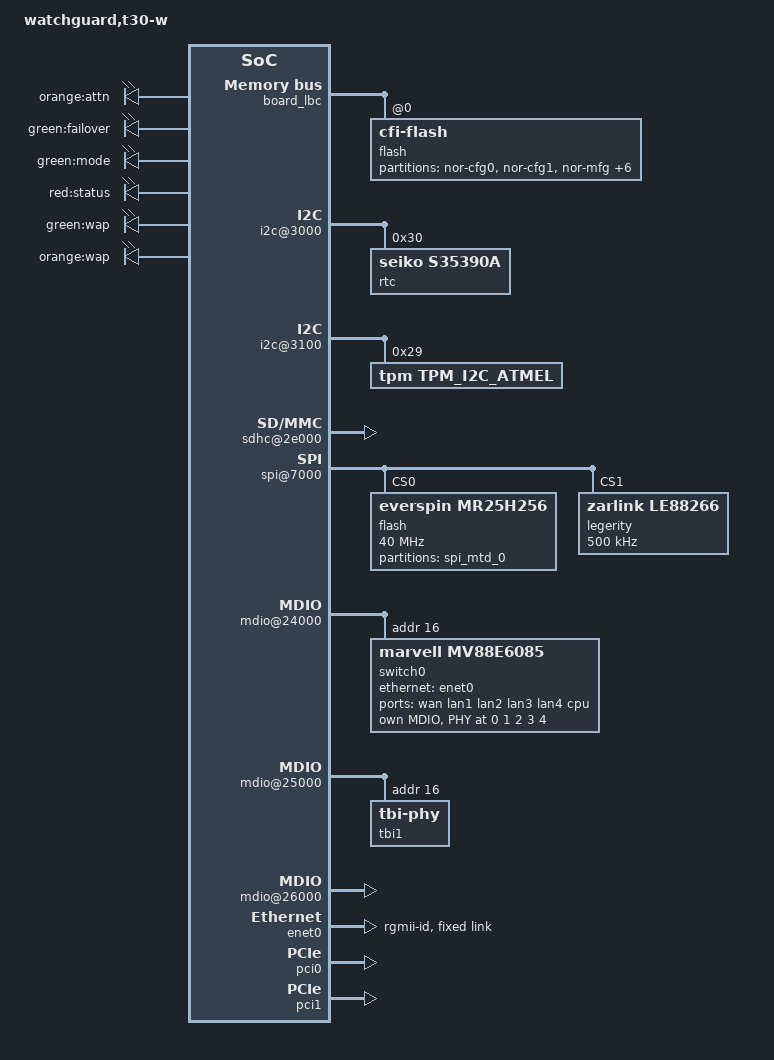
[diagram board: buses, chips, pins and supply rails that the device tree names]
// SPDX-License-Identifier: GPL-2.0-or-later OR MIT

//#include <dt-bindings/gpio/gpio.h>
//#include <dt-bindings/input/input.h>

/include/ "p1020si-pre.dtsi"
/ {
	model = "watchguard,t30-w", "fsl,P1020RDB";
	compatible = "watchguard,t30-w";

	aliases {
		serial0 = &serial0;
		serial1 = &serial1;
		ethernet0 = &enet0;
		pci0 = &pci0;
		pci1 = &pci1;
		led-boot = "/leds/attn_orange";
		led-failsafe = "/leds/status_red";
		led-running = "/leds/attn_orange";
		led-upgrade = "/leds/status_red";
	};

	memory {
		device_type = "memory";
	};

	board_lbc: lbc: localbus@ffe05000 {
		reg = <0x0 0xffe05000 0x0 0x1000>;
		compatible = "fsl,p1020-elbc","fsl,elbc","simple-bus";
		interrupts = <0x13 0x02>;
		interrupt-parent = <&mpic>;

		/* NOR Flash */
		ranges = <0x0 0x0 0x0 0xefc00000 0x100000>;
		
		flash@0 {
			#address-cells = <0x01>;
			#size-cells = <0x01>;
			compatible = "cfi-flash";
			reg = <0x00 0x00 0x400000>;
			bank-width = <0x02>;
			device-width = <0x01>;
			
			partitions {
				compatible = "fixed-partitions";
				#address-cells = <1>;
				#size-cells = <1>;
				
				partition@0 {
					reg = <0x00 0x20000>;
					label = "nor-cfg0";
				};

				partition@20000 {
					reg = <0x20000 0x10000>;
					label = "nor-cfg1";
				};

				partition@30000 {
					reg = <0x30000 0x20000>;
					label = "nor-mfg";
				};

				partition@50000 {
					reg = <0x50000 0xc0000>;
					label = "nor-bootopt";
				};

				partition@110000 {
					reg = <0x110000 0xc0000>;
					label = "nor-extra1";
				};

				partition@1D0000 {
					reg = <0x1d0000 0xc0000>;
					label = "nor-extra2";
				};

				partition@290000 {
					reg = <0x290000 0xe0000>;
					label = "nor-backup";
				};

				partition@370000 {
					reg = <0x370000 0x10000>;
					label = "nor-ubootenv";
				};

				partition@380000 {
					reg = <0x380000 0x80000>;
					label = "nor-uboot";
				};
			};
		};
	};

	board_soc: soc: soc@ffe00000 {
		compatible = "fsl,p1020-immr","simple-bus";
		ranges = <0x0 0x0 0xffe00000 0x100000>;
		
		i2c@3000 {
			rtc@30 {
				compatible = "seiko,s35390a";
				reg = <0x30>;
			};
		};

		i2c@3100 {
			tpm@29 {
				compatible = "tpm,tpm_i2c_atmel";
				reg = <0x29>;
			};
		};

		sdhc@2e000 {
			compatible = "fsl,p1020-esdhc","fsl,esdhc";
			sdhci,auto-cmd12;
			reg = <0x2e000 0x1000>;
			interrupts = <0x48 0x2 0x0 0x0>;
			interrupt-parent = <&mpic>;
			fsl,sdhci-dma-broken;
			fsl,sdhci-ahb2mag-irq-bypass;
			fsl,sdhci-adjust-timeout;
			clock-frequency = <0>;
		};

		spi@7000 {
			cell-index = <0x00>;
			#address-cells = <0x01>;
			#size-cells = <0x00>;
			compatible = "fsl,mpc8536-espi";
			reg = <0x7000 0x1000>;
			interrupts = <0x3b 0x02>;
			interrupt-parent = <&mpic>;
			fsl,espi-num-chipselects = <0x04>;

			flash@0 {
				#address-cells = <0x01>;
				#size-cells = <0x01>;
				compatible = "everspin,mr25h256","jedec,spi-nor";
				reg = <0>; /* Chip select 0 */
				spi-max-frequency = <40000000>;
				m25p,fast-read;

				partition@spi_mtd_0 {
					label = "spi_mtd_0";
					reg = <0x00 0x8000>;
				};
			};

			legerity@1 {
				compatible = "zarlink,le88266";
				reg = <0x01>;
				spi-max-frequency = <500000>;
			};
		};

		usb@22000 {
			phy_type = "ulpi";
			dr_mode = "host";
		};

		mdio@24000 {
			compatible = "fsl,etsec2-mdio";
			reg = <0x24000 0x1000 0xb0030 0x4>;

			switch0: tbi0: tbi-phy@10 {
				compatible = "marvell,mv88e6085";
				reg = <0x10>;

				dsa,member = <0 0>;

				mdio {
					#address-cells = <1>;
					#size-cells = <0>;

					switch0phy0: switch0phy0@0 {
						reg = <0x00>;
						interrupt-parent = <&switch0>;
					};

					switch0phy1: switch0phy1@1 {
						reg = <0x01>;
						interrupt-parent = <&switch0>;
					};

					switch0phy2: switch0phy2@2 {
						reg = <0x02>;
						interrupt-parent = <&switch0>;
					};

					switch0phy3: switch0phy3@3 {
						reg = <0x03>;
						interrupt-parent = <&switch0>;
					};

					switch0phy4: switch0phy4@4 {
						reg = <0x04>;
						interrupt-parent = <&switch0>;
					};
				};

				ports {
					#address-cells = <1>;
					#size-cells = <0>;

					port@0 {
						reg = <0x00>;
						label = "wan";
						phy-handle = <&switch0phy0>;
					};

					port@1 {
						reg = <1>;
						label = "lan1";
						phy-handle = <&switch0phy1>;
					};

					port@2 {
						reg = <2>;
						label = "lan2";
						phy-handle = <&switch0phy2>;
					};

					port@3 {
						reg = <3>;
						label = "lan3";
						phy-handle = <&switch0phy3>;
					};

					port@4 {
						reg = <4>;
						label = "lan4";
						phy-handle = <&switch0phy4>;
					};

					switch0port6: port@6 {
						reg = <6>;
						label = "cpu";
						ethernet = <&enet0>;
						phy-mode = "rgmii-id";
						fixed-link {
							speed = <1000>;
							full-duplex;
						};
					};
				};
			};
		};

		mdio@25000 {
			compatible = "fsl,etsec2-tbi";
			reg = <0x25000 0x1000 0xb1030 0x4>;
			tbi1: tbi-phy@10 {
				reg = <0x10>;
			};
		};

		mdio@26000 {
			#address-cells = <1>;
			#size-cells = <0>;
			compatible = "fsl,etsec2-tbi";
			reg = <0x26000 0x1000 0xb1030 0x4>;
		};

		enet0: ethernet@b0000 {
			compatible = "fsl,etsec2";
			phy-connection-type = "rgmii-id";
			fixed-link {
				speed = <1000>;
				full-duplex;
			};
		};

		enet1: ethernet@b1000 {
			status = "disabled";
		};

		enet2: ethernet@b2000 {
			status = "disabled";
		};

		gpio0: gpio-controller@f000 {
			compatible = "fsl,mpc8572-gpio", "fsl,pq3-gpio";
			reg = <0xf000 0x100>;
			interrupts = <47 2 0 0>;
			interrupt-parent = <&mpic>;
			#gpio-cells = <2>;
			gpio-controller;
		};
	};

	leds {
		compatible = "gpio-leds";

		attn_orange {
			gpios = <0x0a 0x02 0x01>;
			label = "orange:attn";
		};

		failover_green {
			gpios = <0x0a 0x07 0x01>;
			label = "green:failover";
		};

		mode_green {
			gpios = <0x0a 0x04 0x01>;
			label = "green:mode";
		};

		status_red {
			gpios = <0x0a 0x03 0x01>;
			label = "red:status";
		};

		wap_green {
			default-state = "keep";
			gpios = <0x0a 0x05 0x00>;
			label = "green:wap";
		};

		wap_orange {
			default-state = "keep";
			gpios = <0x0a 0x06 0x00>;
			label = "orange:wap";
		};
	};

	pci0: pcie@ffe09000 {
		cell-index = <0x01>;
		compatible = "fsl,mpc8548-pcie";
		device_type = "pci";
		#interrupt-cells = <0x01>;
		#size-cells = <0x02>;
		#address-cells = <0x03>;
		reg = <0x00 0xffe09000 0x00 0x1000>;
		bus-range = <0x00 0xff>;
		ranges = <0x2000000 0x0 0xa0000000 0x0 0xa0000000
					0x0 0x20000000>,
				 <0x1000000 0x0 0x0        0x0 0xffc10000
					0x0 0x10000>;
		clock-frequency = <0x1fca055>;
		interrupt-parent = <&mpic>;
		interrupts = <0x10 0x02>;
		interrupt-map-mask = <0xf800 0x00 0x00 0x07>;
		interrupt-map = <0x00 0x00 0x00 0x01 0x02 0x04 0x01 0x00 0x00 
			0x00 0x02 0x02 0x05 0x01 0x00 0x00 0x00 0x03 0x02 0x06 0x01 
			0x00 0x00 0x00 0x04 0x02 0x07 0x01>;

		pcie@0 {
			reg = <0x00 0x00 0x00 0x00 0x00>;
			#size-cells = <0x02>;
			#address-cells = <0x03>;
			device_type = "pci";
			ranges = <0x2000000 0x0 0xa0000000 0x2000000 0x0 0xa0000000
						0x0 0x20000000>,
					 <0x1000000 0x0 0x0        0x1000000 0x0 0x0
						0x0 0x100000>;
		};
	};

	pci1: pcie@ffe0a000 {
		cell-index = <0x02>;
		compatible = "fsl,mpc8548-pcie";
		device_type = "pci";
		#interrupt-cells = <0x01>;
		#size-cells = <0x02>;
		#address-cells = <0x03>;
		reg = <0x00 0xffe0a000 0x00 0x1000>;
		bus-range = <0x00 0xff>;
		ranges = <0x2000000 0x0 0x80000000 0x0 0x80000000 
					0x0 0x20000000>,
				 <0x1000000 0x0 0x0        0x0 0xffc00000 
					0x0 0x10000>;
		clock-frequency = <0x1fca055>;
		interrupt-parent = <&mpic>;
		interrupts = <0x10 0x02>;
		interrupt-map-mask = <0xf800 0x00 0x00 0x07>;
		interrupt-map = <0x00 0x00 0x00 0x01 0x02 0x00 0x01 0x00 0x00 
			0x00 0x02 0x02 0x01 0x01 0x00 0x00 0x00 0x03 0x02 0x02 0x01 
			0x00 0x00 0x00 0x04 0x02 0x03 0x01>;

		pcie@0 {
			reg = <0x00 0x00 0x00 0x00 0x00>;
			#size-cells = <0x02>;
			#address-cells = <0x03>;
			device_type = "pci";
			ranges = <0x2000000 0x0 0x80000000 0x2000000 0x0 0x80000000
						0x0 0x20000000>,
					 <0x1000000 0x0 0x0        0x1000000 0x0 0x0
						0x0 0x100000>;
		};
	};
};

/include/ "p1020si-post.dtsi"
